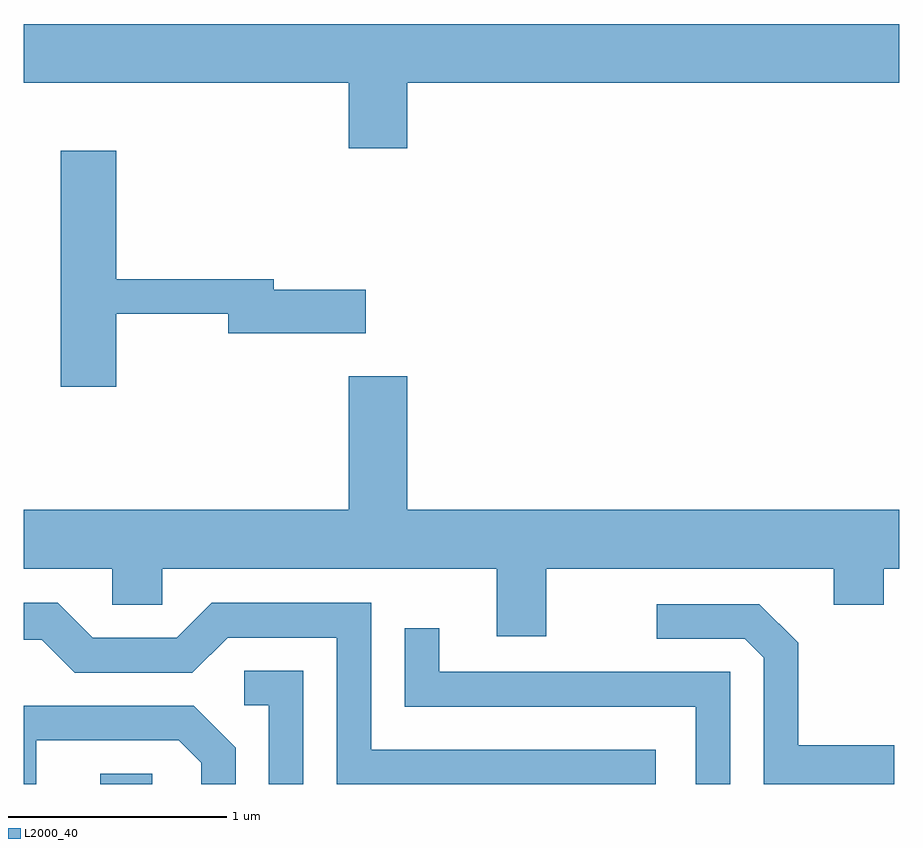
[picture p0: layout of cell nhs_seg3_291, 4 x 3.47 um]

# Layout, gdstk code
import gdstk
lib = gdstk.Library(unit=1e-6, precision=1e-09)
def R(c, l, rs):  # rectangles x0, y0, x1, y1
    for r in rs: c.add(gdstk.rectangle(r[:2], r[2:], *l))
def P(c, l, *ps):  # polygons
    for p in ps: c.add(gdstk.Polygon(p, *l))
L2000_40 = (2000, 40)

nhs_seg3_291 = lib.new_cell('nhs_seg3_291')
R(nhs_seg3_291, L2000_40, [(193.961,1153.892,194.199,1153.939)])
P(nhs_seg3_291, L2000_40, [(195.364,1157.096),(197.611,1157.096),(197.611,1157.364),(193.611,1157.364),(193.611,1157.096),(195.096,1157.096),(195.096,1156.796),(195.364,1156.796)],
  [(194.034,1156.041),(194.546,1156.041),(194.546,1155.951),(195.174,1155.951),(195.174,1156.149),(194.754,1156.149),(194.754,1156.199),(194.034,1156.199),(194.034,1156.784),(193.781,1156.784),(193.781,1155.706),(194.034,1155.706)],
  [(195.999,1154.876),(197.311,1154.876),(197.311,1154.711),(197.539,1154.711),(197.539,1154.876),(197.611,1154.876),(197.611,1155.144),(195.364,1155.144),(195.364,1155.754),(195.096,1155.754),(195.096,1155.144),(193.611,1155.144),(193.611,1154.876),(194.016,1154.876),(194.016,1154.711),(194.244,1154.711),(194.244,1154.876),(195.771,1154.876),(195.771,1154.566),(195.999,1154.566)],
  [(196.499,1154.049),(195.199,1154.049),(195.199,1154.719),(194.469,1154.719),(194.309,1154.559),(193.927,1154.559),(193.767,1154.719),(193.611,1154.719),(193.611,1154.551),(193.694,1154.551),(193.844,1154.401),(194.382,1154.401),(194.542,1154.561),(195.041,1154.561),(195.041,1153.892),(196.499,1153.892)],
  [(197.589,1154.069),(197.149,1154.069),(197.149,1154.537),(196.972,1154.714),(196.503,1154.714),(196.503,1154.556),(196.904,1154.556),(196.991,1154.469),(196.991,1153.892),(197.589,1153.892)],
  [(196.839,1154.404),(195.509,1154.404),(195.509,1154.603),(195.351,1154.603),(195.351,1154.246),(196.681,1154.246),(196.681,1153.892),(196.839,1153.892)],
  [(194.889,1154.409),(194.618,1154.409),(194.618,1154.251),(194.731,1154.251),(194.731,1153.892),(194.889,1153.892)],
  [(193.669,1154.091),(194.319,1154.091),(194.421,1153.989),(194.421,1153.892),(194.579,1153.892),(194.579,1154.057),(194.387,1154.249),(193.611,1154.249),(193.611,1153.892),(193.669,1153.892)])

lib.write_gds('nhs_seg3_291.gds')
